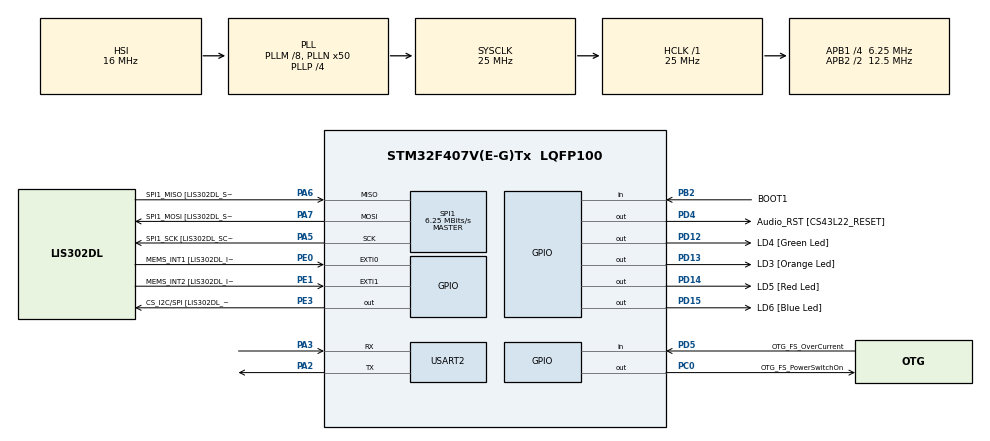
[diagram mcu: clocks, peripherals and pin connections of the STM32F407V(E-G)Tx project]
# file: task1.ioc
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Mcu.Family=STM32F4
Mcu.Name=STM32F407V(E-G)Tx
Mcu.Package=LQFP100
NVIC.PriorityGroup=NVIC_PRIORITYGROUP_0
PA10.GPIO_Label=OTG_FS_ID
PA10.GPIO_Mode=GPIO_MODE_AF_PP
PA10.GPIO_PuPd=GPIO_NOPULL
PA10.GPIO_Speed=GPIO_SPEED_FREQ_LOW
PA10.Signal=USB_OTG_FS_ID
PA11.GPIO_Label=OTG_FS_DM
PA11.GPIO_Mode=GPIO_MODE_AF_PP
PA11.GPIO_PuPd=GPIO_NOPULL
PA11.GPIO_Speed=GPIO_SPEED_FREQ_LOW
PA11.Signal=USB_OTG_FS_DM
PA12.GPIO_Label=OTG_FS_DP
PA12.GPIO_Mode=GPIO_MODE_AF_PP
PA12.GPIO_PuPd=GPIO_NOPULL
PA12.GPIO_Speed=GPIO_SPEED_FREQ_LOW
PA12.Signal=USB_OTG_FS_DP
PA13.GPIO_Label=SWDIO
PA13.Signal=SYS_JTMS-SWDIO
PA14.GPIO_Label=SWCLK
PA14.Signal=SYS_JTCK-SWCLK
PA2.Mode=Asynchronous
PA2.Signal=USART2_TX
PA3.Mode=Asynchronous
PA3.Signal=USART2_RX
PA4.GPIO_Label=I2S3_WS [CS43L22_LRCK]
PA4.GPIO_Mode=GPIO_MODE_AF_PP
PA4.GPIO_PuPd=GPIO_NOPULL
PA4.GPIO_Speed=GPIO_SPEED_FREQ_LOW
PA4.Signal=I2S3_WS
PA5.GPIO_Label=SPI1_SCK [LIS302DL_SCL/SPC]
PA5.GPIO_Mode=GPIO_MODE_AF_PP
PA5.GPIO_PuPd=GPIO_NOPULL
PA5.GPIO_Speed=GPIO_SPEED_FREQ_LOW
PA5.Mode=Full_Duplex_Master
PA5.Signal=SPI1_SCK
PA6.GPIO_Label=SPI1_MISO [LIS302DL_SDO]
PA6.GPIO_Mode=GPIO_MODE_AF_PP
PA6.GPIO_PuPd=GPIO_NOPULL
PA6.GPIO_Speed=GPIO_SPEED_FREQ_LOW
PA6.Mode=Full_Duplex_Master
PA6.Signal=SPI1_MISO
PA7.GPIO_Label=SPI1_MOSI [LIS302DL_SDA/SDI/SDO]
PA7.GPIO_Mode=GPIO_MODE_AF_PP
PA7.GPIO_PuPd=GPIO_NOPULL
PA7.GPIO_Speed=GPIO_SPEED_FREQ_LOW
PA7.Mode=Full_Duplex_Master
PA7.Signal=SPI1_MOSI
PA9.GPIO_Label=VBUS_FS
PA9.GPIO_Mode=GPIO_MODE_INPUT
PA9.GPIO_PuPd=GPIO_NOPULL
PA9.Signal=USB_OTG_FS_VBUS
PB10.GPIO_Label=CLK_IN [MP45DT02_CLK]
PB10.GPIO_Mode=GPIO_MODE_AF_PP
PB10.GPIO_PuPd=GPIO_NOPULL
PB10.GPIO_Speed=GPIO_SPEED_FREQ_LOW
PB10.Signal=I2S2_CK
PB2.GPIO_Label=BOOT1
PB2.GPIO_Mode=GPIO_MODE_INPUT
PB2.GPIO_PuPd=GPIO_NOPULL
PB2.Signal=GPIO_Input
PB3.GPIO_Label=SWO
PB3.Signal=SYS_JTDO-SWO
PB6.GPIO_Label=Audio_SCL [CS43L22_SCL]
PB6.GPIO_Mode=GPIO_MODE_AF_OD
PB6.GPIO_PuPd=GPIO_NOPULL
PB6.GPIO_Speed=GPIO_SPEED_FREQ_LOW
PB6.Signal=I2C1_SCL
PB9.GPIO_Label=Audio_SDA [CS43L22_SDA]
PB9.GPIO_Mode=GPIO_MODE_AF_OD
PB9.GPIO_PuPd=GPIO_NOPULL
PB9.GPIO_Speed=GPIO_SPEED_FREQ_LOW
PB9.Signal=I2C1_SDA
PC0.GPIO_Label=OTG_FS_PowerSwitchOn
PC0.GPIO_PuPd=GPIO_NOPULL
PC0.GPIO_Speed=GPIO_SPEED_FREQ_LOW
PC0.PinState=GPIO_PIN_SET
PC0.Signal=GPIO_Output
PC10.GPIO_Label=I2S3_SCK [CS43L22_SCLK]
PC10.GPIO_Mode=GPIO_MODE_AF_PP
PC10.GPIO_PuPd=GPIO_NOPULL
PC10.GPIO_Speed=GPIO_SPEED_FREQ_LOW
PC10.Signal=I2S3_CK
PC12.GPIO_Label=I2S3_SD [CS43L22_SDIN]
PC12.GPIO_Mode=GPIO_MODE_AF_PP
PC12.GPIO_PuPd=GPIO_NOPULL
PC12.GPIO_Speed=GPIO_SPEED_FREQ_LOW
PC12.Signal=I2S3_SD
PC14-OSC32_IN.GPIO_Label=PC14-OSC32_IN
PC14-OSC32_IN.Signal=RCC_OSC32_IN
PC15-OSC32_OUT.GPIO_Label=PC15-OSC32_OUT
PC15-OSC32_OUT.Signal=RCC_OSC32_OUT
PC3.GPIO_Label=PDM_OUT [MP45DT02_DOUT]
PC3.GPIO_Mode=GPIO_MODE_AF_PP
PC3.GPIO_PuPd=GPIO_NOPULL
PC3.GPIO_Speed=GPIO_SPEED_FREQ_LOW
PC3.Signal=I2S2_SD
PC7.GPIO_Label=I2S3_MCK [CS43L22_MCLK]
PC7.GPIO_Mode=GPIO_MODE_AF_PP
PC7.GPIO_PuPd=GPIO_NOPULL
PC7.GPIO_Speed=GPIO_SPEED_FREQ_LOW
PC7.Signal=I2S3_MCK
PD12.GPIO_Label=LD4 [Green Led]
PD12.GPIO_PuPd=GPIO_NOPULL
PD12.GPIO_Speed=GPIO_SPEED_FREQ_LOW
PD12.Signal=GPIO_Output
PD13.GPIO_Label=LD3 [Orange Led]
PD13.GPIO_PuPd=GPIO_NOPULL
PD13.GPIO_Speed=GPIO_SPEED_FREQ_LOW
PD13.Signal=GPIO_Output
PD14.GPIO_Label=LD5 [Red Led]
PD14.GPIO_PuPd=GPIO_NOPULL
PD14.GPIO_Speed=GPIO_SPEED_FREQ_LOW
PD14.Signal=GPIO_Output
PD15.GPIO_Label=LD6 [Blue Led]
PD15.GPIO_PuPd=GPIO_NOPULL
PD15.GPIO_Speed=GPIO_SPEED_FREQ_LOW
PD15.Signal=GPIO_Output
PD4.GPIO_Label=Audio_RST [CS43L22_RESET]
PD4.GPIO_PuPd=GPIO_NOPULL
PD4.GPIO_Speed=GPIO_SPEED_FREQ_LOW
PD4.Signal=GPIO_Output
PD5.GPIO_Label=OTG_FS_OverCurrent
PD5.GPIO_Mode=GPIO_MODE_INPUT
PD5.GPIO_PuPd=GPIO_NOPULL
PD5.Signal=GPIO_Input
PE0.GPIO_Label=MEMS_INT1 [LIS302DL_INT1]
PE0.Signal=GPXTI0
PE1.GPIO_Label=MEMS_INT2 [LIS302DL_INT2]
PE1.GPIO_ModeDefaultEXTI=GPIO_MODE_EVT_RISING
PE1.GPIO_PuPd=GPIO_NOPULL
PE1.Signal=GPXTI1
PE3.GPIO_Label=CS_I2C/SPI [LIS302DL_CS_I2C/SPI]
PE3.GPIO_PuPd=GPIO_NOPULL
PE3.GPIO_Speed=GPIO_SPEED_FREQ_LOW
PE3.Signal=GPIO_Output
PH0-OSC_IN.GPIO_Label=PH0-OSC_IN
PH0-OSC_IN.Signal=RCC_OSC_IN
PH1-OSC_OUT.GPIO_Label=PH1-OSC_OUT
PH1-OSC_OUT.Signal=RCC_OSC_OUT
ProjectManager.HeapSize=0x200
ProjectManager.StackSize=0x400
ProjectManager.TargetToolchain=SW4STM32
RCC.48MHZClocksFreq_Value=14285714.285714285
RCC.AHBFreq_Value=25000000
RCC.APB1CLKDivider=RCC_HCLK_DIV4
RCC.APB1Freq_Value=6250000
RCC.APB1TimFreq_Value=12500000
RCC.APB2CLKDivider=RCC_HCLK_DIV2
RCC.APB2Freq_Value=12500000
RCC.APB2TimFreq_Value=25000000
RCC.CortexFreq_Value=25000000
RCC.HCLKFreq_Value=25000000
RCC.HSE_VALUE=8000000
RCC.HSI_VALUE=16000000
RCC.LSE_VALUE=32768
RCC.PLLM=8
RCC.PLLN=50
RCC.PLLP=RCC_PLLP_DIV4
RCC.PLLQ=7
RCC.SYSCLKFreq_VALUE=25000000
RCC.SYSCLKSource=RCC_SYSCLKSOURCE_PLLCLK
RCC.VCOOutputFreq_Value=100000000
SPI1.CalculateBaudRate=6.25 MBits/s
SPI1.Mode=SPI_MODE_MASTER
board=STM32F407G-DISC1

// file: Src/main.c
/**
  ******************************************************************************
  * File Name          : main.c
  * Description        : Main program body
  ******************************************************************************
  *
  * COPYRIGHT(c) 2016 STMicroelectronics
  *
  * Redistribution and use in source and binary forms, with or without modification,
  * are permitted provided that the following conditions are met:
  *   1. Redistributions of source code must retain the above copyright notice,
  *      this list of conditions and the following disclaimer.
  *   2. Redistributions in binary form must reproduce the above copyright notice,
  *      this list of conditions and the following disclaimer in the documentation
  *      and/or other materials provided with the distribution.
  *   3. Neither the name of STMicroelectronics nor the names of its contributors
  *      may be used to endorse or promote products derived from this software
  *      without specific prior written permission.
  *
  * THIS SOFTWARE IS PROVIDED BY THE COPYRIGHT HOLDERS AND CONTRIBUTORS "AS IS"
  * AND ANY EXPRESS OR IMPLIED WARRANTIES, INCLUDING, BUT NOT LIMITED TO, THE
  * IMPLIED WARRANTIES OF MERCHANTABILITY AND FITNESS FOR A PARTICULAR PURPOSE ARE
  * DISCLAIMED. IN NO EVENT SHALL THE COPYRIGHT HOLDER OR CONTRIBUTORS BE LIABLE
  * FOR ANY DIRECT, INDIRECT, INCIDENTAL, SPECIAL, EXEMPLARY, OR CONSEQUENTIAL
  * DAMAGES (INCLUDING, BUT NOT LIMITED TO, PROCUREMENT OF SUBSTITUTE GOODS OR
  * SERVICES; LOSS OF USE, DATA, OR PROFITS; OR BUSINESS INTERRUPTION) HOWEVER
  * CAUSED AND ON ANY THEORY OF LIABILITY, WHETHER IN CONTRACT, STRICT LIABILITY,
  * OR TORT (INCLUDING NEGLIGENCE OR OTHERWISE) ARISING IN ANY WAY OUT OF THE USE
  * OF THIS SOFTWARE, EVEN IF ADVISED OF THE POSSIBILITY OF SUCH DAMAGE.
  *
  ******************************************************************************
  */
#include "main.h"
#include "stm32f4xx_hal.h"

SPI_HandleTypeDef hspi1;

UART_HandleTypeDef huart2;

/* USER CODE BEGIN PV */
/* Private variables ---------------------------------------------------------*/

/* USER CODE END PV */

void SystemClock_Config(void);
void Error_Handler(void);
static void MX_GPIO_Init(void);
static void MX_USART2_UART_Init(void);
static void MX_SPI1_Init(void);

/* USER CODE BEGIN PFP */
/* Private function prototypes -----------------------------------------------*/

/* USER CODE END PFP */

int main(void)
{

  /* MCU Configuration----------------------------------------------------------*/

  /* Reset of all peripherals, Initializes the Flash interface and the Systick. */
  HAL_Init();

  /* Configure the system clock */
  SystemClock_Config();

  /* Initialize all configured peripherals */
  MX_GPIO_Init();
  MX_USART2_UART_Init();
  MX_SPI1_Init();

  /* USER CODE BEGIN 2 */
	uint8_t address = 0x20;
	uint8_t data = 0x67;

	uint8_t x, y, z;

	char debugTxt[50];

	HAL_GPIO_WritePin(GPIOE, GPIO_PIN_3, GPIO_PIN_RESET);
	HAL_SPI_Transmit(&hspi1, &address, 1, 50);
	HAL_SPI_Transmit(&hspi1, &data, 1, 50);
	HAL_GPIO_WritePin(GPIOE, GPIO_PIN_3, GPIO_PIN_SET);

	int rotateThreshold = 20;
  /* USER CODE END 2 */

  /* Infinite loop */
	while (1) {

  /* USER CODE BEGIN 3 */

		address = 0x29 | 0x80;
		HAL_GPIO_WritePin(GPIOE,GPIO_PIN_3,GPIO_PIN_RESET);
		HAL_SPI_Transmit(&hspi1, &address, 1, 50);
		HAL_SPI_Receive(&hspi1, &x, 1, 50);
		HAL_GPIO_WritePin(GPIOE,GPIO_PIN_3,GPIO_PIN_SET);

		address = 0x2B | 0x80;
		HAL_GPIO_WritePin(GPIOE,GPIO_PIN_3,GPIO_PIN_RESET);
		HAL_SPI_Transmit(&hspi1, &address, 1, 50);
		HAL_SPI_Receive(&hspi1, &y, 1, 50);
		HAL_GPIO_WritePin(GPIOE,GPIO_PIN_3,GPIO_PIN_SET);

		address = 0x2C | 0x80;
		HAL_GPIO_WritePin(GPIOE,GPIO_PIN_3,GPIO_PIN_RESET);
		HAL_SPI_Transmit(&hspi1, &address, 1, 50);
		HAL_SPI_Receive(&hspi1, &z, 1, 50);
		HAL_GPIO_WritePin(GPIOE,GPIO_PIN_3,GPIO_PIN_SET);

		if (x < 255 - rotateThreshold && x > 128) {
			// Left On
			HAL_GPIO_WritePin(GPIOD, GPIO_PIN_12, GPIO_PIN_SET);
			HAL_GPIO_WritePin(GPIOD, GPIO_PIN_14, GPIO_PIN_RESET);
		} else if (x <= 128 && x > rotateThreshold) {
			// Right On
			HAL_GPIO_WritePin(GPIOD, GPIO_PIN_12, GPIO_PIN_RESET);
			HAL_GPIO_WritePin(GPIOD, GPIO_PIN_14, GPIO_PIN_SET);
		} else {
			HAL_GPIO_WritePin(GPIOD, GPIO_PIN_12, GPIO_PIN_RESET);
			HAL_GPIO_WritePin(GPIOD, GPIO_PIN_14, GPIO_PIN_RESET);
		}

		if (y > rotateThreshold && y < 128) {
			// Up On
			HAL_GPIO_WritePin(GPIOD, GPIO_PIN_13, GPIO_PIN_SET);
			HAL_GPIO_WritePin(GPIOD, GPIO_PIN_15, GPIO_PIN_RESET);
		} else if (y >= 128 && y < 255 - rotateThreshold) {
			// Down On
			HAL_GPIO_WritePin(GPIOD, GPIO_PIN_13, GPIO_PIN_RESET);
			HAL_GPIO_WritePin(GPIOD, GPIO_PIN_15, GPIO_PIN_SET);
		} else {
			HAL_GPIO_WritePin(GPIOD, GPIO_PIN_13, GPIO_PIN_RESET);
			HAL_GPIO_WritePin(GPIOD, GPIO_PIN_15, GPIO_PIN_RESET);
		}

		for(int i = 0; i < 50; ++i) debugTxt[i] = 0;

		sprintf(debugTxt, "\r\nAccelerometer - x: %d, y: %d, z: %d", x, y, z);
		HAL_UART_Transmit(&huart2, (uint8_t*)debugTxt, 50, 100);
	}
  /* USER CODE END 3 */

}

/** System Clock Configuration
*/
void SystemClock_Config(void)
{

  RCC_OscInitTypeDef RCC_OscInitStruct;
  RCC_ClkInitTypeDef RCC_ClkInitStruct;

    /**Configure the main internal regulator output voltage
    */
  __HAL_RCC_PWR_CLK_ENABLE();

  __HAL_PWR_VOLTAGESCALING_CONFIG(PWR_REGULATOR_VOLTAGE_SCALE1);

    /**Initializes the CPU, AHB and APB busses clocks
    */
  RCC_OscInitStruct.OscillatorType = RCC_OSCILLATORTYPE_HSI;
  RCC_OscInitStruct.HSIState = RCC_HSI_ON;
  RCC_OscInitStruct.HSICalibrationValue = 16;
  RCC_OscInitStruct.PLL.PLLState = RCC_PLL_ON;
  RCC_OscInitStruct.PLL.PLLSource = RCC_PLLSOURCE_HSI;
  RCC_OscInitStruct.PLL.PLLM = 8;
  RCC_OscInitStruct.PLL.PLLN = 50;
  RCC_OscInitStruct.PLL.PLLP = RCC_PLLP_DIV4;
  RCC_OscInitStruct.PLL.PLLQ = 7;
  if (HAL_RCC_OscConfig(&RCC_OscInitStruct) != HAL_OK)
  {
    Error_Handler();
  }

    /**Initializes the CPU, AHB and APB busses clocks
    */
  RCC_ClkInitStruct.ClockType = RCC_CLOCKTYPE_HCLK|RCC_CLOCKTYPE_SYSCLK
                              |RCC_CLOCKTYPE_PCLK1|RCC_CLOCKTYPE_PCLK2;
  RCC_ClkInitStruct.SYSCLKSource = RCC_SYSCLKSOURCE_PLLCLK;
  RCC_ClkInitStruct.AHBCLKDivider = RCC_SYSCLK_DIV1;
  RCC_ClkInitStruct.APB1CLKDivider = RCC_HCLK_DIV4;
  RCC_ClkInitStruct.APB2CLKDivider = RCC_HCLK_DIV2;

  if (HAL_RCC_ClockConfig(&RCC_ClkInitStruct, FLASH_LATENCY_0) != HAL_OK)
  {
    Error_Handler();
  }

    /**Configure the Systick interrupt time
    */
  HAL_SYSTICK_Config(HAL_RCC_GetHCLKFreq()/1000);

    /**Configure the Systick
    */
  HAL_SYSTICK_CLKSourceConfig(SYSTICK_CLKSOURCE_HCLK);

  /* SysTick_IRQn interrupt configuration */
  HAL_NVIC_SetPriority(SysTick_IRQn, 0, 0);
}

/* SPI1 init function */
static void MX_SPI1_Init(void)
{

  hspi1.Instance = SPI1;
  hspi1.Init.Mode = SPI_MODE_MASTER;
  hspi1.Init.Direction = SPI_DIRECTION_2LINES;
  hspi1.Init.DataSize = SPI_DATASIZE_8BIT;
  hspi1.Init.CLKPolarity = SPI_POLARITY_LOW;
  hspi1.Init.CLKPhase = SPI_PHASE_1EDGE;
  hspi1.Init.NSS = SPI_NSS_SOFT;
  hspi1.Init.BaudRatePrescaler = SPI_BAUDRATEPRESCALER_2;
  hspi1.Init.FirstBit = SPI_FIRSTBIT_MSB;
  hspi1.Init.TIMode = SPI_TIMODE_DISABLE;
  hspi1.Init.CRCCalculation = SPI_CRCCALCULATION_DISABLE;
  hspi1.Init.CRCPolynomial = 10;
  if (HAL_SPI_Init(&hspi1) != HAL_OK)
  {
    Error_Handler();
  }

}

/* USART2 init function */
static void MX_USART2_UART_Init(void)
{

  huart2.Instance = USART2;
  huart2.Init.BaudRate = 115200;
  huart2.Init.WordLength = UART_WORDLENGTH_8B;
  huart2.Init.StopBits = UART_STOPBITS_1;
  huart2.Init.Parity = UART_PARITY_NONE;
  huart2.Init.Mode = UART_MODE_TX_RX;
  huart2.Init.HwFlowCtl = UART_HWCONTROL_NONE;
  huart2.Init.OverSampling = UART_OVERSAMPLING_16;
  if (HAL_UART_Init(&huart2) != HAL_OK)
  {
    Error_Handler();
  }

}

/** Configure pins as
        * Analog
        * Input
        * Output
        * EVENT_OUT
        * EXTI
     PC3   ------> I2S2_SD
     PA4   ------> I2S3_WS
     PB10   ------> I2S2_CK
     PC7   ------> I2S3_MCK
     PA9   ------> USB_OTG_FS_VBUS
     PA10   ------> USB_OTG_FS_ID
     PA11   ------> USB_OTG_FS_DM
     PA12   ------> USB_OTG_FS_DP
     PC10   ------> I2S3_CK
     PC12   ------> I2S3_SD
     PB6   ------> I2C1_SCL
     PB9   ------> I2C1_SDA
*/
static void MX_GPIO_Init(void)
{

  GPIO_InitTypeDef GPIO_InitStruct;

  /* GPIO Ports Clock Enable */
  __HAL_RCC_GPIOE_CLK_ENABLE();
  __HAL_RCC_GPIOC_CLK_ENABLE();
  __HAL_RCC_GPIOH_CLK_ENABLE();
  __HAL_RCC_GPIOA_CLK_ENABLE();
  __HAL_RCC_GPIOB_CLK_ENABLE();
  __HAL_RCC_GPIOD_CLK_ENABLE();

  /*Configure GPIO pin Output Level */
  HAL_GPIO_WritePin(CS_I2C_SPI_GPIO_Port, CS_I2C_SPI_Pin, GPIO_PIN_RESET);

  /*Configure GPIO pin Output Level */
  HAL_GPIO_WritePin(OTG_FS_PowerSwitchOn_GPIO_Port, OTG_FS_PowerSwitchOn_Pin, GPIO_PIN_SET);

  /*Configure GPIO pin Output Level */
  HAL_GPIO_WritePin(GPIOD, LD4_Pin|LD3_Pin|LD5_Pin|LD6_Pin
                          |Audio_RST_Pin, GPIO_PIN_RESET);

  /*Configure GPIO pin : CS_I2C_SPI_Pin */
  GPIO_InitStruct.Pin = CS_I2C_SPI_Pin;
  GPIO_InitStruct.Mode = GPIO_MODE_OUTPUT_PP;
  GPIO_InitStruct.Pull = GPIO_NOPULL;
  GPIO_InitStruct.Speed = GPIO_SPEED_FREQ_LOW;
  HAL_GPIO_Init(CS_I2C_SPI_GPIO_Port, &GPIO_InitStruct);

  /*Configure GPIO pin : OTG_FS_PowerSwitchOn_Pin */
  GPIO_InitStruct.Pin = OTG_FS_PowerSwitchOn_Pin;
  GPIO_InitStruct.Mode = GPIO_MODE_OUTPUT_PP;
  GPIO_InitStruct.Pull = GPIO_NOPULL;
  GPIO_InitStruct.Speed = GPIO_SPEED_FREQ_LOW;
  HAL_GPIO_Init(OTG_FS_PowerSwitchOn_GPIO_Port, &GPIO_InitStruct);

  /*Configure GPIO pin : PDM_OUT_Pin */
  GPIO_InitStruct.Pin = PDM_OUT_Pin;
  GPIO_InitStruct.Mode = GPIO_MODE_AF_PP;
  GPIO_InitStruct.Pull = GPIO_NOPULL;
  GPIO_InitStruct.Speed = GPIO_SPEED_FREQ_LOW;
  GPIO_InitStruct.Alternate = GPIO_AF5_SPI2;
  HAL_GPIO_Init(PDM_OUT_GPIO_Port, &GPIO_InitStruct);

  /*Configure GPIO pin : PA4 */
  GPIO_InitStruct.Pin = GPIO_PIN_4;
  GPIO_InitStruct.Mode = GPIO_MODE_AF_PP;
  GPIO_InitStruct.Pull = GPIO_NOPULL;
  GPIO_InitStruct.Speed = GPIO_SPEED_FREQ_LOW;
  GPIO_InitStruct.Alternate = GPIO_AF6_SPI3;
  HAL_GPIO_Init(GPIOA, &GPIO_InitStruct);

  /*Configure GPIO pin : BOOT1_Pin */
  GPIO_InitStruct.Pin = BOOT1_Pin;
  GPIO_InitStruct.Mode = GPIO_MODE_INPUT;
  GPIO_InitStruct.Pull = GPIO_NOPULL;
  HAL_GPIO_Init(BOOT1_GPIO_Port, &GPIO_InitStruct);

  /*Configure GPIO pin : CLK_IN_Pin */
  GPIO_InitStruct.Pin = CLK_IN_Pin;
  GPIO_InitStruct.Mode = GPIO_MODE_AF_PP;
  GPIO_InitStruct.Pull = GPIO_NOPULL;
  GPIO_InitStruct.Speed = GPIO_SPEED_FREQ_LOW;
  GPIO_InitStruct.Alternate = GPIO_AF5_SPI2;
  HAL_GPIO_Init(CLK_IN_GPIO_Port, &GPIO_InitStruct);

  /*Configure GPIO pins : LD4_Pin LD3_Pin LD5_Pin LD6_Pin
                           Audio_RST_Pin */
  GPIO_InitStruct.Pin = LD4_Pin|LD3_Pin|LD5_Pin|LD6_Pin
                          |Audio_RST_Pin;
  GPIO_InitStruct.Mode = GPIO_MODE_OUTPUT_PP;
  GPIO_InitStruct.Pull = GPIO_NOPULL;
  GPIO_InitStruct.Speed = GPIO_SPEED_FREQ_LOW;
  HAL_GPIO_Init(GPIOD, &GPIO_InitStruct);

  /*Configure GPIO pins : PC7 I2S3_SCK_Pin PC12 */
  GPIO_InitStruct.Pin = GPIO_PIN_7|I2S3_SCK_Pin|GPIO_PIN_12;
  GPIO_InitStruct.Mode = GPIO_MODE_AF_PP;
  GPIO_InitStruct.Pull = GPIO_NOPULL;
  GPIO_InitStruct.Speed = GPIO_SPEED_FREQ_LOW;
  GPIO_InitStruct.Alternate = GPIO_AF6_SPI3;
  HAL_GPIO_Init(GPIOC, &GPIO_InitStruct);

  /*Configure GPIO pin : VBUS_FS_Pin */
  GPIO_InitStruct.Pin = VBUS_FS_Pin;
  GPIO_InitStruct.Mode = GPIO_MODE_INPUT;
  GPIO_InitStruct.Pull = GPIO_NOPULL;
  HAL_GPIO_Init(VBUS_FS_GPIO_Port, &GPIO_InitStruct);

  /*Configure GPIO pins : OTG_FS_ID_Pin OTG_FS_DM_Pin OTG_FS_DP_Pin */
  GPIO_InitStruct.Pin = OTG_FS_ID_Pin|OTG_FS_DM_Pin|OTG_FS_DP_Pin;
  GPIO_InitStruct.Mode = GPIO_MODE_AF_PP;
  GPIO_InitStruct.Pull = GPIO_NOPULL;
  GPIO_InitStruct.Speed = GPIO_SPEED_FREQ_LOW;
  GPIO_InitStruct.Alternate = GPIO_AF10_OTG_FS;
  HAL_GPIO_Init(GPIOA, &GPIO_InitStruct);

  /*Configure GPIO pin : OTG_FS_OverCurrent_Pin */
  GPIO_InitStruct.Pin = OTG_FS_OverCurrent_Pin;
  GPIO_InitStruct.Mode = GPIO_MODE_INPUT;
  GPIO_InitStruct.Pull = GPIO_NOPULL;
  HAL_GPIO_Init(OTG_FS_OverCurrent_GPIO_Port, &GPIO_InitStruct);

  /*Configure GPIO pins : Audio_SCL_Pin Audio_SDA_Pin */
  GPIO_InitStruct.Pin = Audio_SCL_Pin|Audio_SDA_Pin;
  GPIO_InitStruct.Mode = GPIO_MODE_AF_OD;
  GPIO_InitStruct.Pull = GPIO_PULLUP;
  GPIO_InitStruct.Speed = GPIO_SPEED_FREQ_LOW;
  GPIO_InitStruct.Alternate = GPIO_AF4_I2C1;
  HAL_GPIO_Init(GPIOB, &GPIO_InitStruct);

  /*Configure GPIO pin : MEMS_INT1_Pin */
  GPIO_InitStruct.Pin = MEMS_INT1_Pin;
  GPIO_InitStruct.Mode = GPIO_MODE_IT_RISING;
  GPIO_InitStruct.Pull = GPIO_NOPULL;
  HAL_GPIO_Init(MEMS_INT1_GPIO_Port, &GPIO_InitStruct);

  /*Configure GPIO pin : MEMS_INT2_Pin */
  GPIO_InitStruct.Pin = MEMS_INT2_Pin;
  GPIO_InitStruct.Mode = GPIO_MODE_EVT_RISING;
  GPIO_InitStruct.Pull = GPIO_NOPULL;
  HAL_GPIO_Init(MEMS_INT2_GPIO_Port, &GPIO_InitStruct);

}

void Error_Handler(void)
{
	while (1) {
	}
}

/************************ (C) COPYRIGHT STMicroelectronics *****END OF FILE****/
